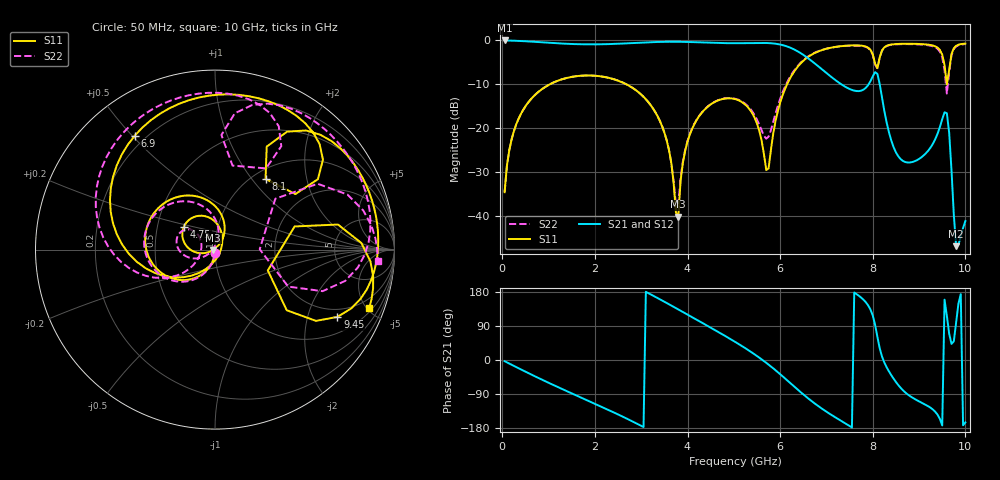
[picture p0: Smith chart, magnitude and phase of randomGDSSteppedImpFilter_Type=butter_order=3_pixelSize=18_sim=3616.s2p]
! freq	dB(S11)	phase(S11)	dB(S12)	phase(S12)
!  dB(S21)	phase(S21)	dB(S22)	phase(S22)
!S-par simulation data
#  GHz  S  DB  R 50
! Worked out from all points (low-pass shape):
!   200 points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, 50 MHz to 10 GHz, reference 50 ohm
!   highest |S21| = -0.01 dB at 50 MHz (marker M1); lowest = -46.8 dB at 9.8 GHz (marker M2)
!   |S21| within 3 dB of the highest: start of sweep to 6.46 GHz
!   lowest |S11| = -40.1 dB at 3.8 GHz (marker M3), VSWR 1.02, Z = 49 - j0.159 ohm
!   |S11| at or under -10 dB: start of sweep to 1.022 GHz; 2.684 GHz to 6.148 GHz (3.464 GHz wide, 78.4 % of centre); 9.599982 GHz to 9.600024 GHz (41.77 kHz wide, 0.000435 % of centre)
!   |S22| runs from -37.5 to -0.8 dB; largest |S21 - S12| = 0
!   S11 on the Smith chart (normalised r, x): 50 MHz: 1.00, -0.04; 4.75 GHz: 0.68, +0.18; 6.9 GHz: 0.16, +0.51; 8.1 GHz: 1.14, +1.17; 9.45 GHz: 1.63, -3.11; 10 GHz: 1.25, -5.21
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0.05  -34.50 -93.1  -0.01 -3.1  -0.01 -3.1  -34.51 -92.9
0.2  -22.54 -103.0  -0.05 -12.5  -0.05 -12.5  -22.53 -102.3
0.5  -14.97 -122.2  -0.19 -30.8  -0.19 -30.8  -14.99 -120.4
1.75  -7.99 164.3  -0.88 -101.7  -0.88 -101.7  -7.99 171.4
3.4  -18.24 64.0  -0.33 160.4  -0.33 160.4  -18.26 81.6
3.8  -40.07 -170.6  -0.31 133.5  -0.31 133.5  -37.48 -172.0
4.05  -21.38 -166.5  -0.36 116.4  -0.36 116.4  -21.27 -149.6
4.75  -13.34 143.6  -0.60 67.9  -0.60 67.9  -13.29 170.9
5.05  -13.41 119.8  -0.63 46.2  -0.63 46.2  -13.32 153.7
5.45  -17.62 80.9  -0.57 14.8  -0.57 14.8  -17.02 138.1
5.7  -29.46 3.9  -0.58 -7.4  -0.58 -7.4  -22.33 172.0
6.1  -11.16 -145.9  -1.20 -48.0  -1.20 -48.0  -10.65 -148.3
6.7  -3.12 144.3  -4.84 -110.4  -4.84 -110.4  -3.04 160.5
6.9  -2.20 125.2  -6.55 -128.2  -6.55 -128.2  -2.16 143.7
7.9  -1.64 45.2  -10.16 144.1  -10.16 144.1  -1.73 68.1
8.1  -6.31 54.4  -7.61 61.0  -7.61 61.0  -6.41 78.2
8.35  -1.04 42.9  -20.90 -30.2  -20.90 -30.2  -1.09 65.6
8.8  -0.76 14.4  -27.75 -95.0  -27.75 -95.0  -0.84 35.4
9.45  -2.17 -28.8  -19.66 -155.5  -19.66 -155.5  -2.55 -13.5
9.6  -10.00 -21.5  -16.56 116.4  -16.56 116.4  -12.07 0.4
9.8  -1.22 -4.3  -46.78 100.2  -46.78 100.2  -1.37 14.7
10  -0.73 -20.6  -41.05 -164.6  -41.05 -164.6  -0.83 -3.9
